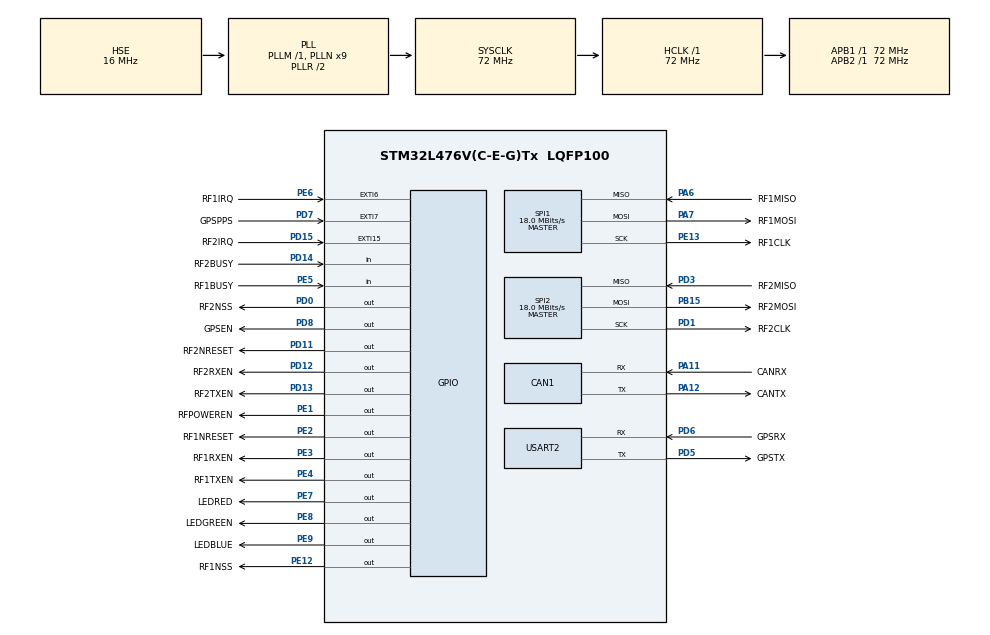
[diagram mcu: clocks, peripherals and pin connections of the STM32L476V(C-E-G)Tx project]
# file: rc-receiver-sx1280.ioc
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CAN1.BS1=CAN_BS1_4TQ
CAN1.BS2=CAN_BS2_4TQ
CAN1.CalculateTimeQuantum=222.22222222222223
Mcu.Family=STM32L4
Mcu.Name=STM32L476V(C-E-G)Tx
Mcu.Package=LQFP100
NVIC.PriorityGroup=NVIC_PRIORITYGROUP_4
NVIC.TIM4_IRQn=true\:0\:0\:false\:false\:true\:true
PA11.GPIO_Label=CANRX
PA11.Mode=Master
PA11.Signal=CAN1_RX
PA12.GPIO_Label=CANTX
PA12.Mode=Master
PA12.Signal=CAN1_TX
PA13\ (JTMS-SWDIO).Mode=Serial_Wire
PA13\ (JTMS-SWDIO).Signal=SYS_JTMS-SWDIO
PA14\ (JTCK-SWCLK).Mode=Serial_Wire
PA14\ (JTCK-SWCLK).Signal=SYS_JTCK-SWCLK
PA6.GPIO_Label=RF1MISO
PA6.Mode=Full_Duplex_Master
PA6.Signal=SPI1_MISO
PA7.GPIO_Label=RF1MOSI
PA7.Mode=Full_Duplex_Master
PA7.Signal=SPI1_MOSI
PB15.GPIO_Label=RF2MOSI
PB15.Mode=Full_Duplex_Master
PB15.Signal=SPI2_MOSI
PD0.GPIO_Label=RF2NSS
PD0.GPIO_Speed=GPIO_SPEED_FREQ_VERY_HIGH
PD0.PinState=GPIO_PIN_SET
PD0.Signal=GPIO_Output
PD1.GPIO_Label=RF2CLK
PD1.Mode=Full_Duplex_Master
PD1.Signal=SPI2_SCK
PD11.GPIO_Label=RF2NRESET
PD11.GPIO_Speed=GPIO_SPEED_FREQ_VERY_HIGH
PD11.PinState=GPIO_PIN_SET
PD11.Signal=GPIO_Output
PD12.GPIO_Label=RF2RXEN
PD12.GPIO_Speed=GPIO_SPEED_FREQ_VERY_HIGH
PD12.Signal=GPIO_Output
PD13.GPIO_Label=RF2TXEN
PD13.GPIO_Speed=GPIO_SPEED_FREQ_VERY_HIGH
PD13.Signal=GPIO_Output
PD14.GPIO_Label=RF2BUSY
PD14.Signal=GPIO_Input
PD15.GPIO_Label=RF2IRQ
PD15.Signal=GPXTI15
PD3.GPIO_Label=RF2MISO
PD3.Mode=Full_Duplex_Master
PD3.Signal=SPI2_MISO
PD5.GPIO_Label=GPSTX
PD5.Mode=Asynchronous
PD5.Signal=USART2_TX
PD6.GPIO_Label=GPSRX
PD6.Mode=Asynchronous
PD6.Signal=USART2_RX
PD7.GPIO_Label=GPSPPS
PD7.Signal=GPXTI7
PD8.GPIO_Label=GPSEN
PD8.GPIO_Speed=GPIO_SPEED_FREQ_VERY_HIGH
PD8.Signal=GPIO_Output
PE1.GPIO_Label=RFPOWEREN
PE1.Signal=GPIO_Output
PE12.GPIO_Label=RF1NSS
PE12.GPIO_Speed=GPIO_SPEED_FREQ_VERY_HIGH
PE12.PinState=GPIO_PIN_SET
PE12.Signal=GPIO_Output
PE13.GPIO_Label=RF1CLK
PE13.Mode=Full_Duplex_Master
PE13.Signal=SPI1_SCK
PE2.GPIO_Label=RF1NRESET
PE2.GPIO_Speed=GPIO_SPEED_FREQ_VERY_HIGH
PE2.PinState=GPIO_PIN_SET
PE2.Signal=GPIO_Output
PE3.GPIO_Label=RF1RXEN
PE3.GPIO_Speed=GPIO_SPEED_FREQ_VERY_HIGH
PE3.Signal=GPIO_Output
PE4.GPIO_Label=RF1TXEN
PE4.GPIO_Speed=GPIO_SPEED_FREQ_VERY_HIGH
PE4.Signal=GPIO_Output
PE5.GPIO_Label=RF1BUSY
PE5.Signal=GPIO_Input
PE6.GPIO_Label=RF1IRQ
PE6.Signal=GPXTI6
PE7.GPIO_Label=LEDRED
PE7.PinState=GPIO_PIN_SET
PE7.Signal=GPIO_Output
PE8.GPIO_Label=LEDGREEN
PE8.PinState=GPIO_PIN_SET
PE8.Signal=GPIO_Output
PE9.GPIO_Label=LEDBLUE
PE9.PinState=GPIO_PIN_SET
PE9.Signal=GPIO_Output
PH0-OSC_IN\ (PH0).Mode=HSE-External-Oscillator
PH0-OSC_IN\ (PH0).Signal=RCC_OSC_IN
PH1-OSC_OUT\ (PH1).Mode=HSE-External-Oscillator
PH1-OSC_OUT\ (PH1).Signal=RCC_OSC_OUT
ProjectManager.HeapSize=0x200
ProjectManager.StackSize=0x400
ProjectManager.TargetToolchain=TrueSTUDIO
RCC.ADCFreq_Value=64000000
RCC.AHBFreq_Value=72000000
RCC.APB1Freq_Value=72000000
RCC.APB1TimFreq_Value=72000000
RCC.APB2Freq_Value=72000000
RCC.APB2TimFreq_Value=72000000
RCC.CortexFreq_Value=72000000
RCC.HCLKFreq_Value=72000000
RCC.HSE_VALUE=16000000
RCC.HSI_VALUE=16000000
RCC.LSE_VALUE=32768
RCC.MSI_VALUE=4000000
RCC.PLLN=9
RCC.PLLSourceVirtual=RCC_PLLSOURCE_HSE
RCC.SYSCLKFreq_VALUE=72000000
RCC.SYSCLKSource=RCC_SYSCLKSOURCE_PLLCLK
RCC.USBFreq_Value=64000000
RCC.VCOOutputFreq_Value=144000000
SPI1.BaudRatePrescaler=SPI_BAUDRATEPRESCALER_4
SPI1.CalculateBaudRate=18.0 MBits/s
SPI1.DataSize=SPI_DATASIZE_8BIT
SPI1.Direction=SPI_DIRECTION_2LINES
SPI1.Mode=SPI_MODE_MASTER
SPI1.VirtualType=VM_MASTER
SPI2.BaudRatePrescaler=SPI_BAUDRATEPRESCALER_4
SPI2.CalculateBaudRate=18.0 MBits/s
SPI2.DataSize=SPI_DATASIZE_8BIT
SPI2.Direction=SPI_DIRECTION_2LINES
SPI2.Mode=SPI_MODE_MASTER
SPI2.VirtualType=VM_MASTER
TIM4.Period=9999
TIM4.Prescaler=71
USART2.VirtualMode-Asynchronous=VM_ASYNC
VP_TIM4_VS_ClockSourceINT.Mode=Internal
board=custom

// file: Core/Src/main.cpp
/* USER CODE BEGIN Header */
/**
 ******************************************************************************
 * @file           : main.c
 * @brief          : Main program body
 ******************************************************************************
 ** This notice applies to any and all portions of this file
 * that are not between comment pairs USER CODE BEGIN and
 * USER CODE END. Other portions of this file, whether
 * inserted by the user or by software development tools
 * are owned by their respective copyright owners.
 *
 * COPYRIGHT(c) 2019 STMicroelectronics
 *
 * Redistribution and use in source and binary forms, with or without modification,
 * are permitted provided that the following conditions are met:
 *   1. Redistributions of source code must retain the above copyright notice,
 *      this list of conditions and the following disclaimer.
 *   2. Redistributions in binary form must reproduce the above copyright notice,
 *      this list of conditions and the following disclaimer in the documentation
 *      and/or other materials provided with the distribution.
 *   3. Neither the name of STMicroelectronics nor the names of its contributors
 *      may be used to endorse or promote products derived from this software
 *      without specific prior written permission.
 *
 * THIS SOFTWARE IS PROVIDED BY THE COPYRIGHT HOLDERS AND CONTRIBUTORS "AS IS"
 * AND ANY EXPRESS OR IMPLIED WARRANTIES, INCLUDING, BUT NOT LIMITED TO, THE
 * IMPLIED WARRANTIES OF MERCHANTABILITY AND FITNESS FOR A PARTICULAR PURPOSE ARE
 * DISCLAIMED. IN NO EVENT SHALL THE COPYRIGHT HOLDER OR CONTRIBUTORS BE LIABLE
 * FOR ANY DIRECT, INDIRECT, INCIDENTAL, SPECIAL, EXEMPLARY, OR CONSEQUENTIAL
 * DAMAGES (INCLUDING, BUT NOT LIMITED TO, PROCUREMENT OF SUBSTITUTE GOODS OR
 * SERVICES; LOSS OF USE, DATA, OR PROFITS; OR BUSINESS INTERRUPTION) HOWEVER
 * CAUSED AND ON ANY THEORY OF LIABILITY, WHETHER IN CONTRACT, STRICT LIABILITY,
 * OR TORT (INCLUDING NEGLIGENCE OR OTHERWISE) ARISING IN ANY WAY OUT OF THE USE
 * OF THIS SOFTWARE, EVEN IF ADVISED OF THE POSSIBILITY OF SUCH DAMAGE.
 *
 ******************************************************************************
 */
/* USER CODE END Header */

#include "main.h"
#include "can.h"
#include "spi.h"
#include "tim.h"
#include "usart.h"
#include "gpio.h"

/* USER CODE BEGIN Includes */

#pragma GCC diagnostic ignored "-Wwrite-strings"

#include "rflink.h"

/* USER CODE END Includes */

/* USER CODE BEGIN PV */

RfLink rfLink = RfLink(&htim4, true);

int16_t testData { 0 };
bool testDirectionUp { true };

/* USER CODE END PV */

void SystemClock_Config(void);

/* USER CODE BEGIN 0 */

void HAL_TIM_PeriodElapsedCallback(TIM_HandleTypeDef *htim) {
//	uint16_t c = rfLink.rf1Module->getFirmwareVersion();

	if (htim->Instance == TIM4) {
		testData += testDirectionUp ? 10 : -10;
		if (testData > 0xFFF) {
			testData = 0xFFF;
			testDirectionUp = false;
		} else if (testData < 0) {
			testData = 0;
			testDirectionUp = true;
		}
	}

	rfLink.processHeartBeat(htim);
}

void HAL_GPIO_EXTI_Callback(uint16_t GPIO_Pin) {
//	rfLink.processIrqs(GPIO_Pin);
}

/* USER CODE END 0 */

int main(void) {

	/* MCU Configuration--------------------------------------------------------*/

	/* Reset of all peripherals, Initializes the Flash interface and the Systick. */
	HAL_Init();

	/* Configure the system clock */
	SystemClock_Config();

	/* Initialize all configured peripherals */
	MX_GPIO_Init();
	MX_SPI1_Init();
	MX_SPI2_Init();
	MX_USART2_UART_Init();
	MX_CAN1_Init();
	MX_TIM4_Init();
	/* USER CODE BEGIN 2 */

	rfLink.init();
	rfLink.onTransmit = [](Packet &packet) {
		ServoData data {0};
		uint8_t lsb = (uint8_t)testData;
		uint8_t msb = (uint8_t)((testData >> 8) & 0x0F);
		data.ch1Lsb = lsb;
		data.ch12Msb.ch1Msb = msb;
		data.ch2Lsb = lsb;
		data.ch12Msb.ch2Msb = msb;
		data.ch3Lsb = lsb;
		data.ch34Msb.ch3Msb = msb;
		data.ch4Lsb = lsb;
		data.ch34Msb.ch4Msb = msb;

		std::copy(std::begin(data), std::end(data), std::begin(packet.payload));
	};
	//  rfLink.onReceive = [](Packet &packet) {
	//	  float resolution = 7999.0f / 4095.0f;
	//	  float pwm1 = 8000 - (packet.payload[0] + (((packet.payload[2] >> 4) & 0x0F) << 8) * resolution);
	//	  float pwm2 = 8000 - (packet.payload[1] + ((packet.payload[2] & 0x0F) << 8) * resolution);
	//	  float pwm3 = 8000 - (packet.payload[3] + (((packet.payload[5] >> 4) & 0x0F) << 8) * resolution);
	//	  float pwm4 = 8000 - (packet.payload[4] + ((packet.payload[5] & 0x0F) << 8) * resolution);
	//	  float pwm5 = 8000 - (packet.payload[6] + ((packet.payload[7] & 0x0F) << 8) * resolution);
	//
	//	  __HAL_TIM_SET_COMPARE(&htim5, TIM_CHANNEL_1, pwm1);
	//	  __HAL_TIM_SET_COMPARE(&htim5, TIM_CHANNEL_2, pwm2);
	//	  __HAL_TIM_SET_COMPARE(&htim5, TIM_CHANNEL_3, pwm3);
	//	  __HAL_TIM_SET_COMPARE(&htim5, TIM_CHANNEL_4, pwm4);
	//	  __HAL_TIM_SET_COMPARE(&htim2, TIM_CHANNEL_1, pwm5);
	//  };

	/* USER CODE END 2 */

	/* Infinite loop */
	/* USER CODE BEGIN WHILE */
	HAL_GPIO_WritePin(LEDBLUE_GPIO_Port, LEDBLUE_Pin, GPIO_PIN_RESET);
	HAL_GPIO_WritePin(RFPOWEREN_GPIO_Port, RFPOWEREN_Pin, GPIO_PIN_SET);
	HAL_TIM_Base_Start_IT(&htim4);
	while (1) {
		rfLink.runLoop();
		/* USER CODE END WHILE */

	}
}

void SystemClock_Config(void) {
	RCC_OscInitTypeDef RCC_OscInitStruct = { 0 };
	RCC_ClkInitTypeDef RCC_ClkInitStruct = { 0 };
	RCC_PeriphCLKInitTypeDef PeriphClkInit = { 0 };

	/**Initializes the CPU, AHB and APB busses clocks
	 */
	RCC_OscInitStruct.OscillatorType = RCC_OSCILLATORTYPE_HSE;
	RCC_OscInitStruct.HSEState = RCC_HSE_ON;
	RCC_OscInitStruct.PLL.PLLState = RCC_PLL_ON;
	RCC_OscInitStruct.PLL.PLLSource = RCC_PLLSOURCE_HSE;
	RCC_OscInitStruct.PLL.PLLM = 1;
	RCC_OscInitStruct.PLL.PLLN = 9;
	RCC_OscInitStruct.PLL.PLLP = RCC_PLLP_DIV7;
	RCC_OscInitStruct.PLL.PLLQ = RCC_PLLQ_DIV2;
	RCC_OscInitStruct.PLL.PLLR = RCC_PLLR_DIV2;
	if (HAL_RCC_OscConfig(&RCC_OscInitStruct) != HAL_OK) {
		Error_Handler();
	}
	/**Initializes the CPU, AHB and APB busses clocks
	 */
	RCC_ClkInitStruct.ClockType = RCC_CLOCKTYPE_HCLK | RCC_CLOCKTYPE_SYSCLK
			| RCC_CLOCKTYPE_PCLK1 | RCC_CLOCKTYPE_PCLK2;
	RCC_ClkInitStruct.SYSCLKSource = RCC_SYSCLKSOURCE_PLLCLK;
	RCC_ClkInitStruct.AHBCLKDivider = RCC_SYSCLK_DIV1;
	RCC_ClkInitStruct.APB1CLKDivider = RCC_HCLK_DIV1;
	RCC_ClkInitStruct.APB2CLKDivider = RCC_HCLK_DIV1;

	if (HAL_RCC_ClockConfig(&RCC_ClkInitStruct, FLASH_LATENCY_4) != HAL_OK) {
		Error_Handler();
	}
	PeriphClkInit.PeriphClockSelection = RCC_PERIPHCLK_USART2;
	PeriphClkInit.Usart2ClockSelection = RCC_USART2CLKSOURCE_PCLK1;
	if (HAL_RCCEx_PeriphCLKConfig(&PeriphClkInit) != HAL_OK) {
		Error_Handler();
	}
	/**Configure the main internal regulator output voltage
	 */
	if (HAL_PWREx_ControlVoltageScaling(PWR_REGULATOR_VOLTAGE_SCALE1)
			!= HAL_OK) {
		Error_Handler();
	}
}

void Error_Handler(void) {
}

/************************ (C) COPYRIGHT STMicroelectronics *****END OF FILE****/
